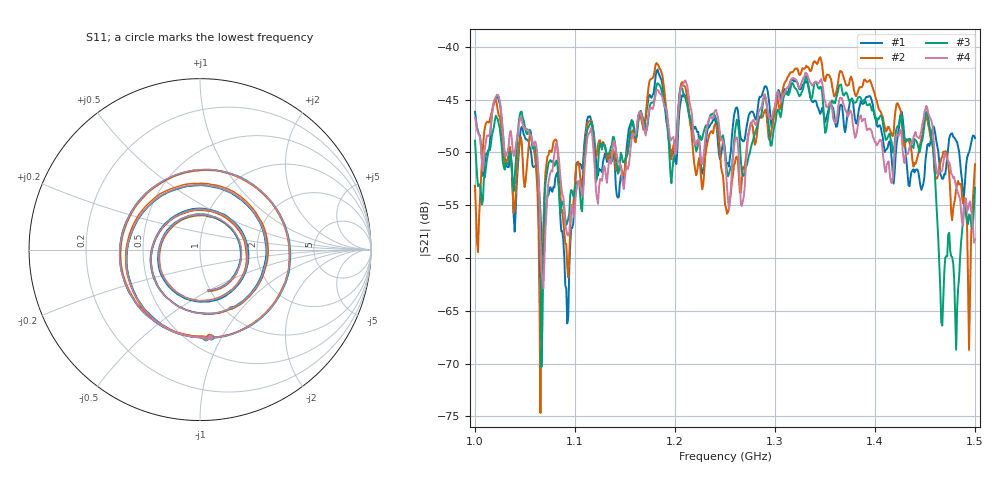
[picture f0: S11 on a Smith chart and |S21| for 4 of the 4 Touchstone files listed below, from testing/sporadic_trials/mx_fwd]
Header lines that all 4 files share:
# HZ S RI R 50
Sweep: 1 GHz to 1.5 GHz
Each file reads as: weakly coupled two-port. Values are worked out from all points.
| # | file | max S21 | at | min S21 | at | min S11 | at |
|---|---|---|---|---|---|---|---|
| 1 | test1.s2p | -42.14 dB | 1.183 GHz | -66.2 dB | 1.092 GHz | -13.7 dB | 1.434 GHz |
| 2 | test2.s2p | -40.98 dB | 1.345 GHz | -74.7 dB | 1.065 GHz | -14.0 dB | 1.437 GHz |
| 3 | test3.s2p | -42.76 dB | 1.331 GHz | -70.3 dB | 1.066 GHz | -13.9 dB | 1.442 GHz |
| 4 | test4.s2p | -42.45 dB | 1.33 GHz | -62.9 dB | 1.068 GHz | -13.8 dB | 1.442 GHz |
